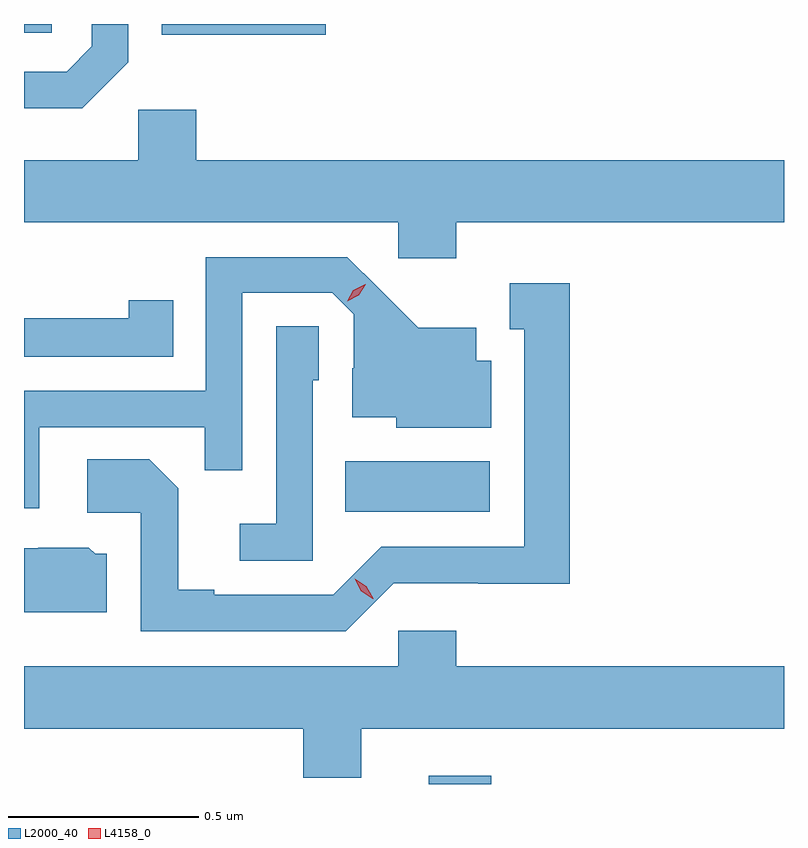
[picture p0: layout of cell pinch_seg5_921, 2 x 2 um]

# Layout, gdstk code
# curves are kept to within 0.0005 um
import gdstk
lib = gdstk.Library(unit=1e-6, precision=1e-09)
def R(c, l, rs):  # rectangles x0, y0, x1, y1
    for r in rs: c.add(gdstk.rectangle(r[:2], r[2:], *l))
def P(c, l, *ps):  # polygons
    for p in ps: c.add(gdstk.Polygon(p, *l))
L2000_40 = (2000, 40)
L4158_0 = (4158, 0)

pinch_seg5_921 = lib.new_cell('pinch_seg5_921')
R(pinch_seg5_921, L2000_40, [(748.088,891.246,748.252,891.268), (747.868,891.962,748.249,892.096), (747.386,893.218,747.817,893.246), (747.023,893.223,747.096,893.246)])
P(pinch_seg5_921, L2000_40, [(747.297,893.145),(747.297,893.246),(747.201,893.246),(747.201,893.187),(747.135,893.121),(747.023,893.121),(747.023,893.024),(747.176,893.024)],
  [(748.16,892.724),(749.023,892.724),(749.023,892.888),(747.476,892.888),(747.476,893.02),(747.324,893.02),(747.324,892.888),(747.023,892.888),(747.023,892.724),(748.008,892.724),(748.008,892.629),(748.16,892.629)],
  [(747.063,892.185),(747.499,892.185),(747.499,892.072),(747.597,892.072),(747.597,892.539),(747.834,892.539),(747.891,892.482),(747.891,892.34),(747.887,892.34),(747.887,892.211),(748.002,892.211),(748.002,892.184),(748.252,892.184),(748.252,892.36),(748.213,892.36),(748.213,892.447),(748.061,892.447),(747.874,892.632),(747.501,892.632),(747.501,892.281),(747.023,892.281),(747.023,891.972),(747.063,891.972)],
  [(747.996,891.774),(748.218,891.774),(748.218,891.773),(748.459,891.773),(748.459,892.564),(748.301,892.564),(748.301,892.443),(748.34,892.443),(748.34,891.87),(747.963,891.87),(747.837,891.744),(747.523,891.744),(747.523,891.757),(747.429,891.757),(747.429,892.024),(747.353,892.1),(747.189,892.1),(747.189,891.96),(747.33,891.96),(747.33,891.648),(747.87,891.648)],
  [(747.416,892.519),(747.298,892.519),(747.298,892.472),(747.023,892.472),(747.023,892.371),(747.416,892.371)],
  [(747.783,892.308),(747.798,892.308),(747.798,892.451),(747.687,892.451),(747.687,891.931),(747.591,891.931),(747.591,891.834),(747.783,891.834)],
  [(747.241,891.852),(747.21,891.852),(747.194,891.868),(747.06,891.868),(747.06,891.867),(747.023,891.867),(747.023,891.698),(747.241,891.698)],
  [(747.91,891.392),(749.023,891.392),(749.023,891.556),(748.16,891.556),(748.16,891.649),(748.008,891.649),(748.008,891.556),(747.023,891.556),(747.023,891.392),(747.758,891.392),(747.758,891.262),(747.91,891.262)])
P(pinch_seg5_921, L4158_0, [(747.873,892.516),(747.873,892.516),(747.89,892.546),(747.921,892.561),(747.922,892.561),(747.922,892.561),(747.904,892.532),(747.873,892.516)],
  [(747.941,891.734),(747.91,891.753),(747.893,891.786),(747.893,891.786),(747.893,891.786),(747.924,891.767),(747.942,891.735),(747.942,891.734)])

lib.write_gds('pinch_seg5_921.gds')
